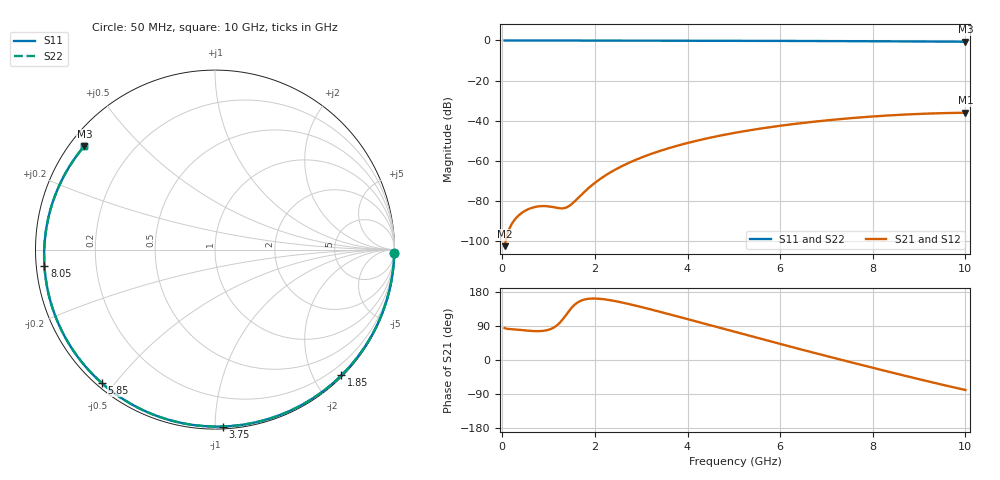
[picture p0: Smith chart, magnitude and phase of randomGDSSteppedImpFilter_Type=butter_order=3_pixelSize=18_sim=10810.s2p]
! freq	dB(S11)	phase(S11)	dB(S12)	phase(S12)
!  dB(S21)	phase(S21)	dB(S22)	phase(S22)
!S-par simulation data
#  GHz  S  DB  R 50
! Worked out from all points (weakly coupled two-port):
!   200 points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, 50 MHz to 10 GHz, reference 50 ohm
!   highest |S21| = -36.00 dB at 10 GHz (marker M1); lowest = -102.5 dB at 50 MHz (marker M2)
!   lowest |S11| = -0.6 dB at 10 GHz (marker M3), VSWR 27.12, Z = 2.07 + j17.4 ohm
!   |S11| at or under -10 dB: nowhere
!   |S22| runs from -0.6 to 0.0 dB; largest |S21 - S12| = 0
!   S11 on the Smith chart (normalised r, x): 50 MHz: 2, -96; 1.85 GHz: 0.02, -2.42; 3.75 GHz: 0.01, -1.05; 5.85 GHz: 0.02, -0.46; 8.05 GHz: 0.02, -0.05; 10 GHz: 0.04, +0.35
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0.05  -0.00 -1.2  -102.48 84.2  -102.48 84.2  -0.00 -1.2
0.45  -0.02 -11.1  -85.44 78.6  -85.44 78.6  -0.02 -11.1
0.8  -0.03 -19.7  -82.60 76.2  -82.60 76.2  -0.03 -19.7
1.55  -0.05 -37.8  -80.43 144.5  -80.43 144.5  -0.05 -37.8
1.6  -0.05 -39.0  -79.31 149.5  -79.31 149.5  -0.05 -39.0
1.75  -0.05 -42.5  -75.89 158.7  -75.89 158.7  -0.05 -42.5
1.85  -0.06 -44.9  -73.77 161.3  -73.77 161.3  -0.06 -44.9
2.15  -0.07 -51.9  -68.41 161.0  -68.41 161.0  -0.07 -51.8
2.5  -0.08 -59.9  -63.60 153.9  -63.60 153.9  -0.08 -59.9
2.9  -0.09 -68.9  -59.30 142.9  -59.30 142.9  -0.09 -68.9
3.4  -0.10 -79.9  -55.07 127.3  -55.07 127.3  -0.10 -79.9
3.75  -0.12 -87.4  -52.63 116.0  -52.63 116.0  -0.12 -87.4
4.4  -0.14 -101.1  -48.88 94.6  -48.88 94.6  -0.14 -101.1
5.05  -0.17 -114.4  -45.90 73.2  -45.90 73.2  -0.17 -114.3
5.85  -0.22 -130.4  -42.98 47.1  -42.98 47.1  -0.22 -130.3
6.7  -0.28 -147.2  -40.55 20.0  -40.55 20.0  -0.28 -147.2
7.4  -0.34 -161.2  -38.97 -2.0  -38.97 -2.0  -0.34 -161.2
8.05  -0.40 -174.5  -37.79 -22.1  -37.79 -22.1  -0.40 -174.5
8.35  -0.44 179.1  -37.35 -31.2  -37.35 -31.2  -0.44 179.2
8.8  -0.49 169.4  -36.79 -44.8  -36.79 -44.8  -0.49 169.5
9.2  -0.54 160.5  -36.42 -56.6  -36.42 -56.6  -0.54 160.5
10  -0.64 141.5  -36.00 -79.2  -36.00 -79.2  -0.64 141.6
